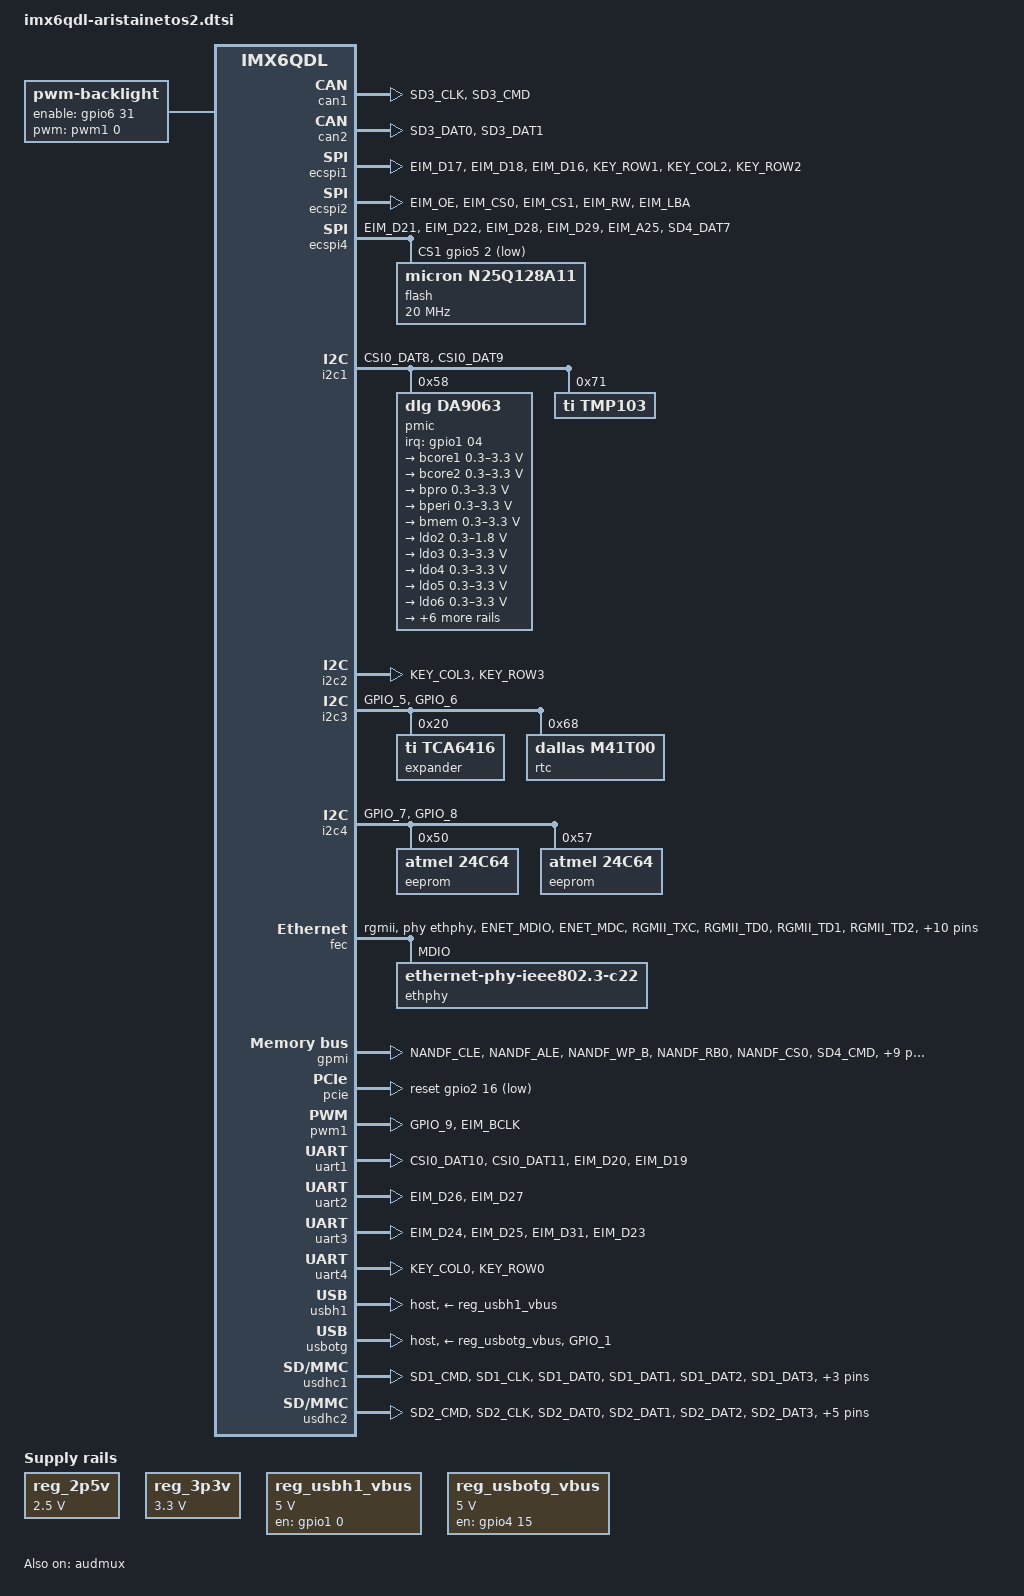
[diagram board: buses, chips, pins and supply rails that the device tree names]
/*
 * support for the imx6 based aristainetos2 board
 *
 * Copyright (C) 2015 Heiko Schocher <hs@denx.de>
 *
 * This file is dual-licensed: you can use it either under the terms
 * of the GPL or the X11 license, at your option. Note that this dual
 * licensing only applies to this file, and not this project as a
 * whole.
 *
 *  a) This file is free software; you can redistribute it and/or
 *     modify it under the terms of the GNU General Public License
 *     version 2 as published by the Free Software Foundation.
 *
 *     This file is distributed in the hope that it will be useful,
 *     but WITHOUT ANY WARRANTY; without even the implied warranty of
 *     MERCHANTABILITY or FITNESS FOR A PARTICULAR PURPOSE.  See the
 *     GNU General Public License for more details.
 *
 * Or, alternatively,
 *
 *  b) Permission is hereby granted, free of charge, to any person
 *     obtaining a copy of this software and associated documentation
 *     files (the "Software"), to deal in the Software without
 *     restriction, including without limitation the rights to use,
 *     copy, modify, merge, publish, distribute, sublicense, and/or
 *     sell copies of the Software, and to permit persons to whom the
 *     Software is furnished to do so, subject to the following
 *     conditions:
 *
 *     The above copyright notice and this permission notice shall be
 *     included in all copies or substantial portions of the Software.
 *
 *     THE SOFTWARE IS PROVIDED "AS IS", WITHOUT WARRANTY OF ANY KIND,
 *     EXPRESS OR IMPLIED, INCLUDING BUT NOT LIMITED TO THE WARRANTIES
 *     OF MERCHANTABILITY, FITNESS FOR A PARTICULAR PURPOSE AND
 *     NONINFRINGEMENT. IN NO EVENT SHALL THE AUTHORS OR COPYRIGHT
 *     HOLDERS BE LIABLE FOR ANY CLAIM, DAMAGES OR OTHER LIABILITY,
 *     WHETHER IN AN ACTION OF CONTRACT, TORT OR OTHERWISE, ARISING
 *     FROM, OUT OF OR IN CONNECTION WITH THE SOFTWARE OR THE USE OR
 *     OTHER DEALINGS IN THE SOFTWARE.
 */
#include <dt-bindings/gpio/gpio.h>
#include <dt-bindings/clock/imx6qdl-clock.h>

/ {
	backlight: backlight {
		compatible = "pwm-backlight";
		pwms = <&pwm1 0 5000000 0>;
		brightness-levels = <0 4 8 16 32 64 128 255>;
		default-brightness-level = <7>;
		enable-gpios = <&gpio6 31 GPIO_ACTIVE_HIGH>;
	};

	reg_2p5v: regulator-2p5v {
		compatible = "regulator-fixed";
		regulator-name = "2P5V";
		regulator-min-microvolt = <2500000>;
		regulator-max-microvolt = <2500000>;
		regulator-always-on;
	};

	reg_3p3v: regulator-3p3v {
		compatible = "regulator-fixed";
		regulator-name = "3P3V";
		regulator-min-microvolt = <3300000>;
		regulator-max-microvolt = <3300000>;
		regulator-always-on;
	};

	reg_usbh1_vbus: regulator-usbh1-vbus {
		compatible = "regulator-fixed";
		enable-active-high;
		gpio = <&gpio1 0 GPIO_ACTIVE_HIGH>;
		pinctrl-names = "default";
		pinctrl-0 = <&pinctrl_aristainetos2_usbh1_vbus>;
		regulator-name = "usb_h1_vbus";
		regulator-min-microvolt = <5000000>;
		regulator-max-microvolt = <5000000>;
	};

	reg_usbotg_vbus: regulator-usbotg-vbus {
		compatible = "regulator-fixed";
		enable-active-high;
		gpio = <&gpio4 15 GPIO_ACTIVE_HIGH>;
		pinctrl-names = "default";
		pinctrl-0 = <&pinctrl_aristainetos2_usbotg_vbus>;
		regulator-name = "usb_otg_vbus";
		regulator-min-microvolt = <5000000>;
		regulator-max-microvolt = <5000000>;
	};
};

&audmux {
	pinctrl-names = "default";
	pinctrl-0 = <&pinctrl_audmux>;
	status = "okay";
};

&can1 {
	pinctrl-names = "default";
	pinctrl-0 = <&pinctrl_flexcan1>;
	status = "okay";
};

&can2 {
	pinctrl-names = "default";
	pinctrl-0 = <&pinctrl_flexcan2>;
	status = "okay";
};

&ecspi1 {
	cs-gpios = <&gpio4 9 GPIO_ACTIVE_LOW
		    &gpio4 10 GPIO_ACTIVE_LOW
		    &gpio4 11 GPIO_ACTIVE_LOW>;
	pinctrl-names = "default";
	pinctrl-0 = <&pinctrl_ecspi1>;
	status = "okay";
};

&ecspi2 {
	cs-gpios = <&gpio2 26 GPIO_ACTIVE_LOW &gpio2 27 GPIO_ACTIVE_LOW>;
	pinctrl-names = "default";
	pinctrl-0 = <&pinctrl_ecspi2>;
	status = "okay";
};

&ecspi4 {
	cs-gpios = <&gpio3 29 GPIO_ACTIVE_LOW &gpio5 2 GPIO_ACTIVE_LOW>;
	pinctrl-names = "default";
	pinctrl-0 = <&pinctrl_ecspi4>;
	status = "okay";

	flash: flash@1 {
		#address-cells = <1>;
		#size-cells = <1>;
		compatible = "micron,n25q128a11", "jedec,spi-nor";
		spi-max-frequency = <20000000>;
		reg = <1>;
	};
};

&i2c1 {
	pinctrl-names = "default";
	pinctrl-0 = <&pinctrl_i2c1>;
	status = "okay";

	pmic@58 {
		compatible = "dlg,da9063";
		reg = <0x58>;
		interrupt-parent = <&gpio1>;
		interrupts = <04 0x8>;

		regulators {
			bcore1 {
				regulator-name = "bcore1";
				regulator-always-on;
				regulator-min-microvolt = <300000>;
				regulator-max-microvolt = <3300000>;
			};

			bcore2 {
				regulator-name = "bcore2";
				regulator-always-on;
				regulator-min-microvolt = <300000>;
				regulator-max-microvolt = <3300000>;
			};

			bpro {
				regulator-name = "bpro";
				regulator-always-on;
				regulator-min-microvolt = <300000>;
				regulator-max-microvolt = <3300000>;
			};

			bperi {
				regulator-name = "bperi";
				regulator-always-on;
				regulator-min-microvolt = <300000>;
				regulator-max-microvolt = <3300000>;
			};

			bmem {
				regulator-name = "bmem";
				regulator-always-on;
				regulator-min-microvolt = <300000>;
				regulator-max-microvolt = <3300000>;
			};

			ldo2 {
				regulator-name = "ldo2";
				regulator-always-on;
				regulator-min-microvolt = <300000>;
				regulator-max-microvolt = <1800000>;
			};

			ldo3 {
				regulator-name = "ldo3";
				regulator-always-on;
				regulator-min-microvolt = <300000>;
				regulator-max-microvolt = <3300000>;
			};

			ldo4 {
				regulator-name = "ldo4";
				regulator-always-on;
				regulator-min-microvolt = <300000>;
				regulator-max-microvolt = <3300000>;
			};

			ldo5 {
				regulator-name = "ldo5";
				regulator-always-on;
				regulator-min-microvolt = <300000>;
				regulator-max-microvolt = <3300000>;
			};

			ldo6 {
				regulator-name = "ldo6";
				regulator-always-on;
				regulator-min-microvolt = <300000>;
				regulator-max-microvolt = <3300000>;
			};

			ldo7 {
				regulator-name = "ldo7";
				regulator-always-on;
				regulator-min-microvolt = <300000>;
				regulator-max-microvolt = <3300000>;
			};

			ldo8 {
				regulator-name = "ldo8";
				regulator-always-on;
				regulator-min-microvolt = <300000>;
				regulator-max-microvolt = <3300000>;
			};

			ldo9 {
				regulator-name = "ldo9";
				regulator-always-on;
				regulator-min-microvolt = <300000>;
				regulator-max-microvolt = <3300000>;
			};

			ldo10 {
				regulator-name = "ldo10";
				regulator-always-on;
				regulator-min-microvolt = <300000>;
				regulator-max-microvolt = <3300000>;
			};

			ldo11 {
				regulator-name = "ldo11";
				regulator-always-on;
				regulator-min-microvolt = <300000>;
				regulator-max-microvolt = <3300000>;
			};

			bio {
				regulator-name = "bio";
				regulator-always-on;
				regulator-min-microvolt = <1800000>;
				regulator-max-microvolt = <1800000>;
			};
		};
	};

	tmp103: tmp103@71 {
		compatible = "ti,tmp103";
		reg = <0x71>;
	};
};

&i2c2 {
	pinctrl-names = "default";
	pinctrl-0 = <&pinctrl_i2c2>;
	status = "okay";
};

&i2c3 {
	pinctrl-names = "default";
	pinctrl-0 = <&pinctrl_i2c3>;
	status = "okay";

	expander: tca6416@20 {
		compatible = "ti,tca6416";
		reg = <0x20>;
		#gpio-cells = <2>;
		gpio-controller;
	};

	rtc@68 {
		compatible = "dallas,m41t00";
		reg = <0x68>;
	};
};

&i2c4 {
	pinctrl-names = "default";
	pinctrl-0 = <&pinctrl_i2c4>;
	status = "okay";

	eeprom@50 {
		compatible = "atmel,24c64";
		reg = <0x50>;
	};

	eeprom@57 {
		compatible = "atmel,24c64";
		reg = <0x57>;
	};
};

&fec {
	pinctrl-names = "default";
	pinctrl-0 = <&pinctrl_enet>;
	phy-mode = "rgmii";
	phy-handle = <&ethphy>;
	phy-reset-gpios = <&gpio7 18 GPIO_ACTIVE_LOW>;
	status = "okay";

	mdio {
		#address-cells = <1>;
		#size-cells = <0>;

		ethphy: ethernet-phy {
			compatible = "ethernet-phy-ieee802.3-c22";
			txd0-skew-ps = <0>;
			txd1-skew-ps = <0>;
			txd2-skew-ps = <0>;
			txd3-skew-ps = <0>;
		};
	};
};

&gpmi {
	pinctrl-names = "default";
	pinctrl-0 = <&pinctrl_gpmi_nand>;
	status = "okay";
};

&pcie {
	reset-gpio = <&gpio2 16 GPIO_ACTIVE_LOW>;
	status = "okay";
};

&pwm1 {
	pinctrl-names = "default";
	pinctrl-0 = <&pinctrl_pwm1>;
	status = "okay";
};

&uart1 {
	pinctrl-names = "default";
	pinctrl-0 = <&pinctrl_uart1>;
	uart-has-rtscts;
	status = "okay";
};

&uart2 {
	pinctrl-names = "default";
	pinctrl-0 = <&pinctrl_uart2>;
	status = "okay";
};

&uart3 {
	pinctrl-names = "default";
	pinctrl-0 = <&pinctrl_uart3>;
	uart-has-rtscts;
	status = "okay";
};

&uart4 {
	pinctrl-names = "default";
	pinctrl-0 = <&pinctrl_uart4>;
	status = "okay";
};

&usbh1 {
	vbus-supply = <&reg_usbh1_vbus>;
	dr_mode = "host";
	status = "okay";
};

&usbotg {
	vbus-supply = <&reg_usbotg_vbus>;
	pinctrl-names = "default";
	pinctrl-0 = <&pinctrl_usbotg>;
	disable-over-current;
	dr_mode = "host";
	status = "okay";
};

&usdhc1 {
	pinctrl-names = "default";
	pinctrl-0 = <&pinctrl_usdhc1>;
	cd-gpios = <&gpio1 27 GPIO_ACTIVE_LOW>;
	no-1-8-v;
	status = "okay";
};

&usdhc2 {
	pinctrl-names = "default";
	pinctrl-0 = <&pinctrl_usdhc2>;
	cd-gpios = <&gpio4 5 GPIO_ACTIVE_LOW>;
	wp-gpios = <&gpio2 10 GPIO_ACTIVE_HIGH>;
	no-1-8-v;
	status = "okay";
};

&iomuxc {
	pinctrl-names = "default";
	pinctrl-0 = <&pinctrl_gpio>;

	pinctrl_audmux: audmux {
		fsl,pins = <
			MX6QDL_PAD_CSI0_DAT7__AUD3_RXD  0x1b0b0
			MX6QDL_PAD_CSI0_DAT4__AUD3_TXC  0x1b0b0
			MX6QDL_PAD_CSI0_DAT5__AUD3_TXD  0x1b0b0
			MX6QDL_PAD_CSI0_DAT6__AUD3_TXFS 0x1b0b0
		>;
	};

	pinctrl_ecspi1: ecspi1grp {
		fsl,pins = <
			MX6QDL_PAD_EIM_D17__ECSPI1_MISO 0x100b1
			MX6QDL_PAD_EIM_D18__ECSPI1_MOSI 0x100b1
			MX6QDL_PAD_EIM_D16__ECSPI1_SCLK 0x100b1
			MX6QDL_PAD_KEY_ROW1__GPIO4_IO09 0x100b1 /* SS0# */
			MX6QDL_PAD_KEY_COL2__GPIO4_IO10 0x100b1 /* SS1# */
			MX6QDL_PAD_KEY_ROW2__GPIO4_IO11 0x100b1 /* SS2# */
		>;
	};

	pinctrl_ecspi2: ecspi2grp {
		fsl,pins = <
			MX6QDL_PAD_EIM_OE__ECSPI2_MISO  0x100b1
			MX6QDL_PAD_EIM_CS0__ECSPI2_SCLK 0x100b1
			MX6QDL_PAD_EIM_CS1__ECSPI2_MOSI 0x100b1
			MX6QDL_PAD_EIM_RW__GPIO2_IO26   0x100b1 /* SS0# */
			MX6QDL_PAD_EIM_LBA__GPIO2_IO27  0x100b1 /* SS1# */
		>;
	};

	pinctrl_ecspi4: ecspi4grp {
		fsl,pins = <
			MX6QDL_PAD_EIM_D21__ECSPI4_SCLK 0x100b1
			MX6QDL_PAD_EIM_D22__ECSPI4_MISO 0x100b1
			MX6QDL_PAD_EIM_D28__ECSPI4_MOSI 0x100b1
			MX6QDL_PAD_EIM_D29__GPIO3_IO29  0x100b1 /* SS0# */
			MX6QDL_PAD_EIM_A25__GPIO5_IO02  0x100b1 /* SS1# */
			MX6QDL_PAD_SD4_DAT7__GPIO2_IO15 0x1b0b0 /* WP pin */
		>;
	};

	pinctrl_enet: enetgrp {
		fsl,pins = <
			MX6QDL_PAD_ENET_MDIO__ENET_MDIO       0x1b0b0
			MX6QDL_PAD_ENET_MDC__ENET_MDC         0x1b0b0
			MX6QDL_PAD_RGMII_TXC__RGMII_TXC       0x1b0b0
			MX6QDL_PAD_RGMII_TD0__RGMII_TD0       0x1b0b0
			MX6QDL_PAD_RGMII_TD1__RGMII_TD1       0x1b0b0
			MX6QDL_PAD_RGMII_TD2__RGMII_TD2       0x1b0b0
			MX6QDL_PAD_RGMII_TD3__RGMII_TD3       0x1b0b0
			MX6QDL_PAD_RGMII_TX_CTL__RGMII_TX_CTL 0x1b0b0
			MX6QDL_PAD_ENET_REF_CLK__ENET_TX_CLK  0x1b0b0
			MX6QDL_PAD_RGMII_RXC__RGMII_RXC       0x1b0b0
			MX6QDL_PAD_RGMII_RD0__RGMII_RD0       0x1b0b0
			MX6QDL_PAD_RGMII_RD1__RGMII_RD1       0x1b0b0
			MX6QDL_PAD_RGMII_RD2__RGMII_RD2       0x1b0b0
			MX6QDL_PAD_RGMII_RD3__RGMII_RD3       0x1b0b0
			MX6QDL_PAD_RGMII_RX_CTL__RGMII_RX_CTL 0x1b0b0
		>;
	};

	pinctrl_flexcan1: flexcan1grp {
		fsl,pins = <
			MX6QDL_PAD_SD3_CLK__FLEXCAN1_RX 0x1b0b0
			MX6QDL_PAD_SD3_CMD__FLEXCAN1_TX 0x1b0b0
		>;
	};

	pinctrl_flexcan2: flexcan2grp {
		fsl,pins = <
			MX6QDL_PAD_SD3_DAT0__FLEXCAN2_TX 0x1b0b0
			MX6QDL_PAD_SD3_DAT1__FLEXCAN2_RX 0x1b0b0
		>;
	};

	pinctrl_gpio: gpiogrp {
		fsl,pins = <
			MX6QDL_PAD_ENET_CRS_DV__GPIO1_IO25	0x1b0b0 /* led enable */
			MX6QDL_PAD_NANDF_CS2__GPIO6_IO15	0x1b0b0 /* LCD power enable */
			MX6QDL_PAD_NANDF_CS3__GPIO6_IO16	0x1b0b0 /* led yellow */
			MX6QDL_PAD_EIM_EB0__GPIO2_IO28		0x1b0b0 /* led red */
			MX6QDL_PAD_EIM_A24__GPIO5_IO04		0x1b0b0 /* led green */
			MX6QDL_PAD_EIM_EB1__GPIO2_IO29		0x1b0b0 /* led blue */
			MX6QDL_PAD_SD3_DAT5__GPIO7_IO00		0x1b0b0 /* Profibus IRQ */
			MX6QDL_PAD_SD3_DAT6__GPIO6_IO18		0x1b0b0 /* FPGA IRQ */
			MX6QDL_PAD_EIM_A23__GPIO6_IO06		0x1b0b0 /* spi bus #2 SS driver enable */
			MX6QDL_PAD_GPIO_18__GPIO7_IO13		0x1b0b0 /* RST_LOC# PHY reset input (has pull-down!)*/
			MX6QDL_PAD_ENET_RX_ER__USB_OTG_ID	0x1b0b0 /* USB_OTG_ID = GPIO1_24*/
			MX6QDL_PAD_SD4_DAT1__GPIO2_IO09		0x1b0b0 /* Touchscreen IRQ */
			MX6QDL_PAD_EIM_A22__GPIO2_IO16		0x1b0b0 /* PCIe reset */
		>;
	};

	pinctrl_gpmi_nand: gpminandgrp {
		fsl,pins = <
			MX6QDL_PAD_NANDF_CLE__NAND_CLE     0xb0b1
			MX6QDL_PAD_NANDF_ALE__NAND_ALE     0xb0b1
			MX6QDL_PAD_NANDF_WP_B__NAND_WP_B   0xb0b1
			MX6QDL_PAD_NANDF_RB0__NAND_READY_B 0xb000
			MX6QDL_PAD_NANDF_CS0__NAND_CE0_B   0xb0b1
			MX6QDL_PAD_SD4_CMD__NAND_RE_B      0xb0b1
			MX6QDL_PAD_SD4_CLK__NAND_WE_B      0xb0b1
			MX6QDL_PAD_NANDF_D0__NAND_DATA00   0xb0b1
			MX6QDL_PAD_NANDF_D1__NAND_DATA01   0xb0b1
			MX6QDL_PAD_NANDF_D2__NAND_DATA02   0xb0b1
			MX6QDL_PAD_NANDF_D3__NAND_DATA03   0xb0b1
			MX6QDL_PAD_NANDF_D4__NAND_DATA04   0xb0b1
			MX6QDL_PAD_NANDF_D5__NAND_DATA05   0xb0b1
			MX6QDL_PAD_NANDF_D6__NAND_DATA06   0xb0b1
			MX6QDL_PAD_NANDF_D7__NAND_DATA07   0xb0b1
		>;
	};

	pinctrl_i2c1: i2c1grp {
		fsl,pins = <
			MX6QDL_PAD_CSI0_DAT8__I2C1_SDA 0x4001b8b1
			MX6QDL_PAD_CSI0_DAT9__I2C1_SCL 0x4001b8b1
		>;
	};

	pinctrl_i2c2: i2c2grp {
		fsl,pins = <
			MX6QDL_PAD_KEY_COL3__I2C2_SCL 0x4001b8b1
			MX6QDL_PAD_KEY_ROW3__I2C2_SDA 0x4001b8b1
		>;
	};

	pinctrl_i2c3: i2c3grp {
		fsl,pins = <
			MX6QDL_PAD_GPIO_5__I2C3_SCL 0x4001b8b1
			MX6QDL_PAD_GPIO_6__I2C3_SDA 0x4001b8b1
		>;
	};

	pinctrl_i2c4: i2c4grp {
		fsl,pins = <
			MX6QDL_PAD_GPIO_7__I2C4_SCL 0x4001b8b1
			MX6QDL_PAD_GPIO_8__I2C4_SDA 0x4001b8b1
		>;
	};

	pinctrl_pwm1: pwm1grp {
		fsl,pins = <
			MX6QDL_PAD_GPIO_9__PWM1_OUT	0x1b0b0
			MX6QDL_PAD_EIM_BCLK__GPIO6_IO31	0x1b0b0 /* backlight enable */
		>;
	};

	pinctrl_uart1: uart1grp {
		fsl,pins = <
			MX6QDL_PAD_CSI0_DAT10__UART1_TX_DATA	0x1b0b1
			MX6QDL_PAD_CSI0_DAT11__UART1_RX_DATA	0x1b0b1
			MX6QDL_PAD_EIM_D20__UART1_RTS_B		0x1b0b1
			MX6QDL_PAD_EIM_D19__UART1_CTS_B		0x1b0b1
		>;
	};

	pinctrl_uart2: uart2grp {
		fsl,pins = <
			MX6QDL_PAD_EIM_D26__UART2_TX_DATA 0x1b0b1
			MX6QDL_PAD_EIM_D27__UART2_RX_DATA 0x1b0b1
		>;
	};

	pinctrl_uart3: uart3grp {
		fsl,pins = <
			MX6QDL_PAD_EIM_D24__UART3_TX_DATA 0x1b0b1
			MX6QDL_PAD_EIM_D25__UART3_RX_DATA 0x1b0b1
			MX6QDL_PAD_EIM_D31__UART3_RTS_B	  0x1b0b1
			MX6QDL_PAD_EIM_D23__UART3_CTS_B	  0x1b0b1
		>;
	};

	pinctrl_uart4: uart4grp {
		fsl,pins = <
			MX6QDL_PAD_KEY_COL0__UART4_TX_DATA 0x1b0b1
			MX6QDL_PAD_KEY_ROW0__UART4_RX_DATA 0x1b0b1
		>;
	};

	pinctrl_usbotg: usbotggrp {
		fsl,pins = <
			MX6QDL_PAD_GPIO_1__USB_OTG_ID 0x17059
		>;
	};

	pinctrl_aristainetos2_usbh1_vbus: aristainetos-usbh1-vbus {
		fsl,pins = <MX6QDL_PAD_GPIO_0__USB_H1_PWR 0x130b0>;
	};

	pinctrl_aristainetos2_usbotg_vbus: aristainetos-usbotg-vbus {
		fsl,pins = <MX6QDL_PAD_KEY_ROW4__USB_OTG_PWR 0x130b0>;
	};

	pinctrl_usdhc1: usdhc1grp {
		fsl,pins = <
			MX6QDL_PAD_SD1_CMD__SD1_CMD    0x17059
			MX6QDL_PAD_SD1_CLK__SD1_CLK    0x10059
			MX6QDL_PAD_SD1_DAT0__SD1_DATA0 0x17059
			MX6QDL_PAD_SD1_DAT1__SD1_DATA1 0x17059
			MX6QDL_PAD_SD1_DAT2__SD1_DATA2 0x17059
			MX6QDL_PAD_SD1_DAT3__SD1_DATA3 0x17059
			MX6QDL_PAD_ENET_RXD0__GPIO1_IO27	0x1b0b0 /* SD1 card detect input */
			MX6QDL_PAD_DI0_PIN4__GPIO4_IO20		0x1b0b0 /* SD1 write protect input */
		>;
	};

	pinctrl_usdhc2: usdhc2grp {
		fsl,pins = <
			MX6QDL_PAD_SD2_CMD__SD2_CMD    0x71
			MX6QDL_PAD_SD2_CLK__SD2_CLK    0x71
			MX6QDL_PAD_SD2_DAT0__SD2_DATA0 0x71
			MX6QDL_PAD_SD2_DAT1__SD2_DATA1 0x71
			MX6QDL_PAD_SD2_DAT2__SD2_DATA2 0x71
			MX6QDL_PAD_SD2_DAT3__SD2_DATA3 0x71
			MX6QDL_PAD_SD3_RST__GPIO7_IO08		0x1b0b0 /* SD2 level shifter output enable */
			MX6QDL_PAD_GPIO_19__GPIO4_IO05		0x1b0b0 /* SD2 card detect input */
			MX6QDL_PAD_SD4_DAT2__GPIO2_IO10		0x1b0b0 /* SD2 write protect input */
		>;
	};
};
